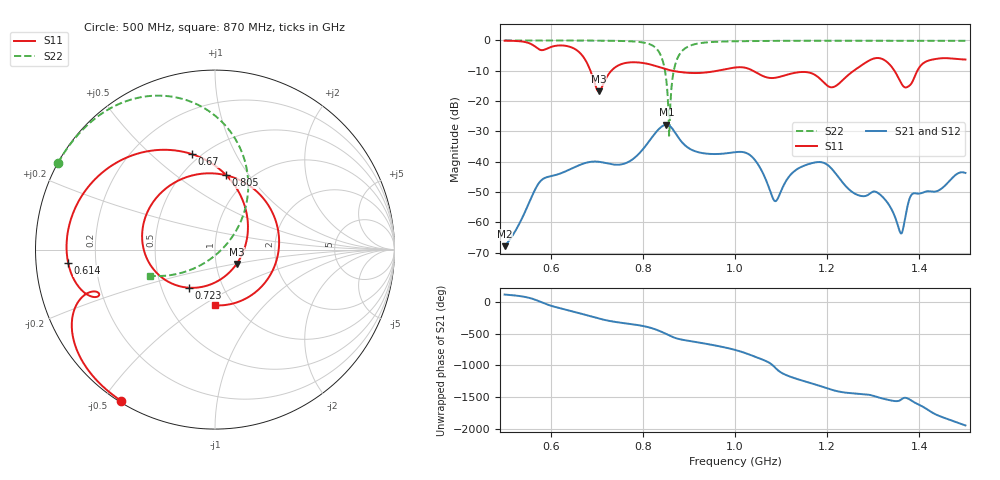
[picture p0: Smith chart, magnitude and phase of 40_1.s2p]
! TOUCHSTONE file generated by CST MICROWAVE STUDIO
! Date and time: Sat Nov 14 20:44:13 2020
! Project name: Scenario_1_Planar_Body_Tissue_Out_of_Line_v2.cst
! Parameters = {dy1=-328.7; L_HA=400; Ltissue=700; MT=2.54; Rad_Dielectric=30; Rad_Lower=7.3; Rad_Upper=30; Wtissue=700; a_HA=580; a_WG=246; b_HA=500; b_WG=121; c_HA=0; c_WG=187; d_feed=85; dx1=173; h_feed=15; h_lower=18; h_upper=40; hfat=3; hgap=25; hmuscle=50; hskin=1.5}
! Header version: 2018
! Port assignment regex: !\s*Touchstone port\s*([0-9]+)\s*=\s*(CST MWS port|CST DS port)\s*([0-9]+|Zmin|Zmax)\s*\(\"(.*)\"\)(\s*mode\s*([0-9]+))?.*
! Touchstone port assignment:
! Touchstone port 1 = CST MWS port 1 ("")
! Touchstone port 2 = CST MWS port 2 ("")
# GHz S DB R 50
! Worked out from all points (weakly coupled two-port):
!   1003 points, 500 MHz to 1.5 GHz, reference 50 ohm
!   highest |S21| = -27.78 dB at 851 MHz (marker M1); lowest = -67.8 dB at 500 MHz (marker M2)
!   lowest |S11| = -16.8 dB at 704 MHz (marker M3), VSWR 1.34, Z = 62.7 - j10.3 ohm
!   |S11| at or under -10 dB: 864.3 MHz to 961.9 MHz (97.57 MHz wide, 10.7 % of centre); 1.039 GHz to 1.258 GHz (218.5 MHz wide, 19 % of centre); 1.346 GHz to 1.396 GHz (49.72 MHz wide, 3.63 % of centre) (the widest 3 of 4)
!   |S22| runs from -31.4 to 0.0 dB; largest |S21 - S12| = 2.9e-05
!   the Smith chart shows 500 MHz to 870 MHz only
!   S11 on the Smith chart (normalised r, x): 500 MHz: 0.01, -0.56; 614 MHz: 0.10, -0.04; 670 MHz: 0.45, +0.68; 723 MHz: 0.69, -0.31; 805 MHz: 0.78, +0.78; 870 MHz: 0.82, -0.56
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0.5  -0.07 -121.8  -67.84 113.8  -67.84 113.8  -0.01 151.1
0.614  -1.71 -174.8  -44.23 -89.7  -44.23 -89.7  -0.02 143.0
0.667  -4.68 109.8  -40.83 170.2  -40.83 170.2  -0.04 138.4
0.67  -5.25 103.4  -40.67 164.2  -40.67 164.2  -0.04 138.1
0.704  -16.81 -33.7  -40.00 96.7  -40.00 96.7  -0.07 134.4
0.723  -11.76 -124.7  -40.55 64.8  -40.55 64.8  -0.09 131.9
0.761  -7.47 160.8  -40.57 21.2  -40.57 21.2  -0.21 125.2
0.805  -7.55 81.9  -34.97 -28.7  -34.97 -28.7  -0.81 109.7
0.834  -8.74 14.2  -29.34 -92.9  -29.34 -92.9  -3.56 82.6
0.851  -9.52 -33.0  -27.78 -148.0  -27.78 -148.0  -13.20 48.1
0.859  -9.82 -56.8  -28.27 -176.3  -28.27 -176.3  -23.69 -119.0
0.87  -10.16 -90.3  -30.39 150.8  -30.39 150.8  -8.12 -158.3
0.937  -10.56 94.5  -37.31 58.7  -37.31 58.7  -0.66 152.3
1  -8.94 -21.0  -36.85 -37.7  -36.85 -37.8  -0.28 140.1
1.087  -12.32 126.2  -52.99 43.9  -52.99 43.9  -0.14 130.9
1.167  -10.88 -50.8  -40.45 153.5  -40.45 153.6  -0.09 124.2
1.207  -15.41 -177.9  -41.86 59.7  -41.86 59.7  -0.09 121.1
1.264  -9.31 59.5  -50.82 -7.2  -50.81 -7.3  -0.08 116.8
1.334  -7.68 -31.2  -54.18 -107.6  -54.18 -107.6  -0.09 111.5
1.361  -14.16 -37.3  -63.66 -97.8  -63.67 -97.7  -0.09 109.5
1.385  -13.62 8.9  -50.60 -126.1  -50.60 -126.1  -0.09 107.6
1.5  -6.30 -41.1  -43.69 -148.0  -43.69 -148.0  -0.13 97.9
